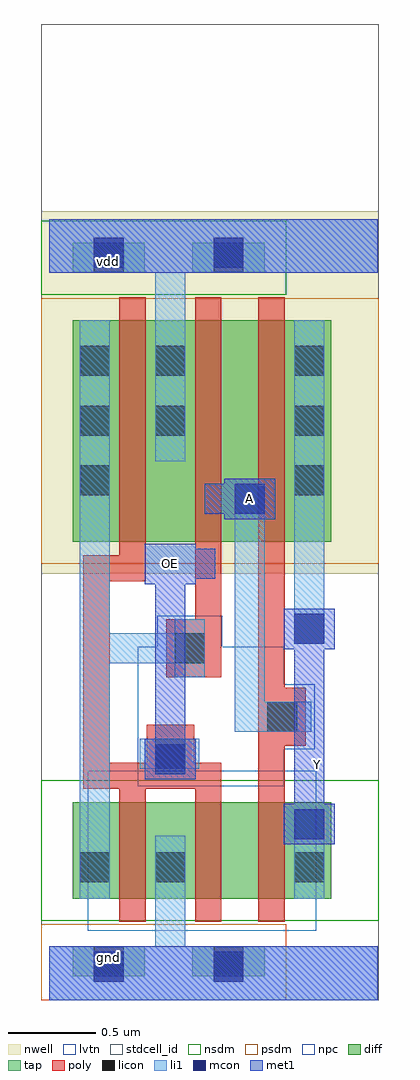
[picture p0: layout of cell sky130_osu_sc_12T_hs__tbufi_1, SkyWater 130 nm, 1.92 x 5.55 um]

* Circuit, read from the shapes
.subckt sky130_osu_sc_12T_hs__tbufi_1 A OE Y gnd vdd
XM1 gnd OE n1 gnd sky130_fd_pr__nfet_01v8_lvt w=0.55 l=0.15
XM2 n2 OE gnd gnd sky130_fd_pr__nfet_01v8_lvt w=0.55 l=0.15
XM3 Y A n2 gnd sky130_fd_pr__nfet_01v8_lvt w=0.55 l=0.15
XM4 vdd OE n1 vdd sky130_fd_pr__pfet_01v8 w=1.26 l=0.15
XM5 n3 n1 vdd vdd sky130_fd_pr__pfet_01v8 w=1.26 l=0.15
XM6 Y A n3 vdd sky130_fd_pr__pfet_01v8 w=1.26 l=0.15
.ends

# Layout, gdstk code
import gdstk
lib = gdstk.Library(unit=1e-6, precision=1e-09)
def R(c, l, rs):  # rectangles x0, y0, x1, y1
    for r in rs: c.add(gdstk.rectangle(r[:2], r[2:], *l))
def A(c, l, x, y, w, h, nx, ny, dx, dy):  # array of equal rectangles
    R(c, l, [(x+i*dx, y+j*dy, x+i*dx+w, y+j*dy+h) for i in range(nx) for j in range(ny)])
nwell = (64, 20)
diff = (65, 20)
tap = (65, 44)
poly = (66, 20)
licon = (66, 44)
li1 = (67, 20)
mcon = (67, 44)
met1 = (68, 20)
stdcell_id = (81, 4)
nsdm = (93, 44)
psdm = (94, 20)
npc = (95, 20)
lvtn = (125, 44)

sky130_osu_sc_12t_hs__tb = lib.new_cell('sky130_osu_sc_12T_hs__tbufi_1')
R(sky130_osu_sc_12t_hs__tb, nwell, [(-0.045,2.425,1.875,4.485)])
R(sky130_osu_sc_12t_hs__tb, diff, [(0.135,0.575,1.605,1.125), (0.135,2.605,1.605,3.865)])
R(sky130_osu_sc_12t_hs__tb, tap, [(0.135,0.135,0.545,0.305), (0.815,0.135,1.225,0.305), (0.135,4.135,0.545,4.305), (0.815,4.135,1.225,4.305)])
R(sky130_osu_sc_12t_hs__tb, poly, [(0.4,0.445,0.55,1.2), (0.83,0.445,0.98,1.2), (1.19,0.445,1.34,1.445), (0.195,1.2,0.98,1.35), (0.195,1.35,0.345,2.38), (0.555,1.35,0.825,1.565), (1.19,1.445,1.46,1.775), (1.19,1.775,1.34,3.995), (0.665,1.835,0.98,2.165), (0.83,2.165,0.98,3.995), (0.195,2.38,0.55,2.53), (0.4,2.53,0.55,3.995)])
A(sky130_osu_sc_12t_hs__tb, licon, 0.175, 2.87, 0.17, 0.17, 1, 3, 0, 0.34)
A(sky130_osu_sc_12t_hs__tb, licon, 1.395, 2.87, 0.17, 0.17, 1, 3, 0, 0.34)
R(sky130_osu_sc_12t_hs__tb, licon, [(0.255,0.135,0.425,0.305), (0.935,0.135,1.105,0.305), (0.175,0.67,0.345,0.84), (0.605,0.67,0.775,0.84), (1.395,0.67,1.565,0.84), (0.605,1.315,0.775,1.485), (1.24,1.525,1.41,1.695), (0.715,1.915,0.885,2.085), (0.605,3.21,0.775,3.38), (0.605,3.55,0.775,3.72), (0.255,4.135,0.425,4.305), (0.935,4.135,1.105,4.305)])
R(sky130_osu_sc_12t_hs__tb, li1, [(0,0,1.87,0.305), (0.605,0.305,0.775,0.935), (0.175,0.575,0.345,1.915), (1.395,0.575,1.565,1.085), (0.605,1.285,0.775,1.315), (0.515,1.315,0.855,1.485), (1.055,1.525,1.49,1.695), (1.055,1.695,1.225,2.935), (0.715,1.835,0.885,1.915), (0.175,1.915,0.885,2.085), (1.395,2.025,1.565,3.865), (0.175,2.085,0.345,3.865), (0.715,2.085,0.885,2.165), (0.605,3.065,0.775,4.135), (0,4.135,1.87,4.44)])
R(sky130_osu_sc_12t_hs__tb, mcon, [(0.255,0.105,0.425,0.275), (0.935,0.105,1.105,0.275), (1.395,0.915,1.565,1.085), (0.605,1.285,0.775,1.455), (1.395,2.025,1.565,2.195), (1.055,2.765,1.225,2.935), (0.255,4.165,0.425,4.335), (0.935,4.165,1.105,4.335)])
R(sky130_osu_sc_12t_hs__tb, met1, [(0,0,1.87,0.305), (1.335,0.885,1.625,1.115), (1.395,1.115,1.565,1.995), (0.545,1.255,0.835,1.485), (0.605,1.485,0.775,2.365), (1.335,1.995,1.625,2.225), (0.545,2.365,0.835,2.395), (0.545,2.395,0.945,2.565), (0.545,2.565,0.835,2.595), (0.995,2.735,1.285,2.765), (0.885,2.765,1.285,2.935), (0.995,2.935,1.285,2.965), (0,4.135,1.87,4.44)])
R(sky130_osu_sc_12t_hs__tb, stdcell_id, [(-0.045,0,1.875,5.55)])
R(sky130_osu_sc_12t_hs__tb, nsdm, [(-0.045,0.45,1.875,1.25), (-0.045,4.01,1.35,4.43)])
R(sky130_osu_sc_12t_hs__tb, psdm, [(-0.045,0,1.35,0.43), (-0.045,2.48,1.875,3.99)])
R(sky130_osu_sc_12t_hs__tb, npc, [(0.505,1.215,1.335,1.425), (0.505,1.425,1.51,1.795), (0.505,1.795,1.335,2.01), (0.615,2.01,0.985,2.185)])
R(sky130_osu_sc_12t_hs__tb, lvtn, [(0.22,0.395,1.52,1.305)])
sky130_osu_sc_12t_hs__tb.add(gdstk.Label('gnd', (0.34,0.24), layer=68, texttype=16))
sky130_osu_sc_12t_hs__tb.add(gdstk.Label('vdd', (0.34,4.2), layer=68, texttype=16))
sky130_osu_sc_12t_hs__tb.add(gdstk.Label('Y', (1.525,1.34), layer=68, texttype=5))
sky130_osu_sc_12t_hs__tb.add(gdstk.Label('A', (1.14,2.85), layer=68, texttype=5))
sky130_osu_sc_12t_hs__tb.add(gdstk.Label('OE', (0.69,2.48), layer=68, texttype=5))

lib.write_gds('sky130_osu_sc_12T_hs__tbufi_1.gds')
